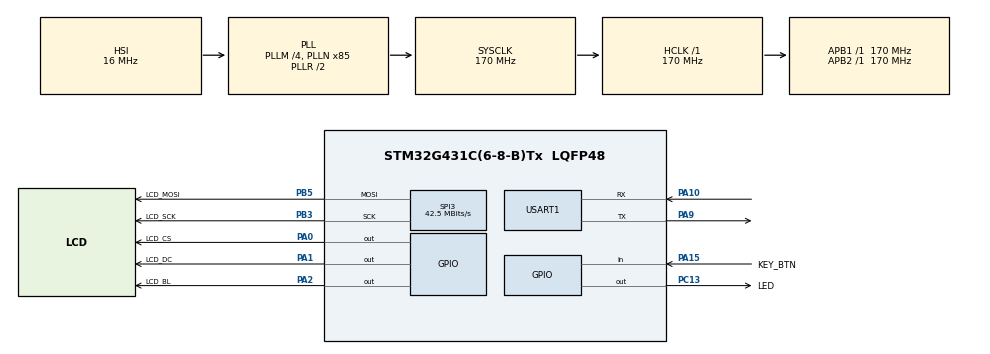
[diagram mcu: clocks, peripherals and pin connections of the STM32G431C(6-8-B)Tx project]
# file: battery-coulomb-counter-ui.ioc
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Dma.Request0=SPI3_TX
Dma.SPI3_TX.0.Direction=DMA_MEMORY_TO_PERIPH
Dma.SPI3_TX.0.EventEnable=DISABLE
Dma.SPI3_TX.0.Instance=DMA1_Channel1
Dma.SPI3_TX.0.MemDataAlignment=DMA_MDATAALIGN_BYTE
Dma.SPI3_TX.0.MemInc=DMA_MINC_ENABLE
Dma.SPI3_TX.0.Mode=DMA_NORMAL
Dma.SPI3_TX.0.PeriphDataAlignment=DMA_PDATAALIGN_BYTE
Dma.SPI3_TX.0.PeriphInc=DMA_PINC_DISABLE
Dma.SPI3_TX.0.Polarity=HAL_DMAMUX_REQ_GEN_RISING
Dma.SPI3_TX.0.Priority=DMA_PRIORITY_LOW
Dma.SPI3_TX.0.RequestNumber=1
Dma.SPI3_TX.0.SignalID=NONE
Dma.SPI3_TX.0.SyncEnable=DISABLE
Dma.SPI3_TX.0.SyncPolarity=HAL_DMAMUX_SYNC_NO_EVENT
Dma.SPI3_TX.0.SyncRequestNumber=1
Dma.SPI3_TX.0.SyncSignalID=NONE
Mcu.Family=STM32G4
Mcu.Name=STM32G431C(6-8-B)Tx
Mcu.Package=LQFP48
NVIC.DMA1_Channel1_IRQn=true\:0\:0\:false\:false\:true\:false\:true\:true
NVIC.PriorityGroup=NVIC_PRIORITYGROUP_4
NVIC.TIM1_TRG_COM_TIM17_IRQn=true\:15\:0\:false\:false\:true\:false\:true\:true
NVIC.TimeBase=TIM1_TRG_COM_TIM17_IRQn
NVIC.TimeBaseIP=TIM17
NVIC.USART1_IRQn=true\:0\:0\:false\:false\:true\:true\:true\:true
PA0.GPIO_Label=LCD_CS
PA0.GPIO_Speed=GPIO_SPEED_FREQ_HIGH
PA0.PinState=GPIO_PIN_SET
PA0.Signal=GPIO_Output
PA1.GPIO_Label=LCD_DC
PA1.GPIO_Speed=GPIO_SPEED_FREQ_HIGH
PA1.Signal=GPIO_Output
PA10.Mode=Asynchronous
PA10.Signal=USART1_RX
PA13.Mode=Serial_Wire
PA13.Signal=SYS_JTMS-SWDIO
PA14.Mode=Serial_Wire
PA14.Signal=SYS_JTCK-SWCLK
PA15.GPIO_Label=KEY_BTN
PA15.GPIO_PuPd=GPIO_PULLUP
PA15.Signal=GPIO_Input
PA2.GPIO_Label=LCD_BL
PA2.GPIO_Speed=GPIO_SPEED_FREQ_HIGH
PA2.Signal=GPIO_Output
PA9.Mode=Asynchronous
PA9.Signal=USART1_TX
PB3.GPIO_Label=LCD_SCK
PB3.GPIO_Speed=GPIO_SPEED_FREQ_VERY_HIGH
PB3.Mode=TX_Only_Simplex_Unidirect_Master
PB3.Signal=SPI3_SCK
PB5.GPIO_Label=LCD_MOSI
PB5.GPIO_Speed=GPIO_SPEED_FREQ_VERY_HIGH
PB5.Mode=TX_Only_Simplex_Unidirect_Master
PB5.Signal=SPI3_MOSI
PC13.GPIO_Label=LED
PC13.Signal=GPIO_Output
PC14-OSC32_IN.Mode=LSE-External-Oscillator
PC14-OSC32_IN.Signal=RCC_OSC32_IN
PC15-OSC32_OUT.Mode=LSE-External-Oscillator
PC15-OSC32_OUT.Signal=RCC_OSC32_OUT
PF0-OSC_IN.Mode=HSE-External-Oscillator
PF0-OSC_IN.Signal=RCC_OSC_IN
PF1-OSC_OUT.Mode=HSE-External-Oscillator
PF1-OSC_OUT.Signal=RCC_OSC_OUT
ProjectManager.HeapSize=0x200
ProjectManager.StackSize=0x400
ProjectManager.TargetToolchain=STM32CubeIDE
RCC.ADC12Freq_Value=170000000
RCC.AHBFreq_Value=170000000
RCC.APB1Freq_Value=170000000
RCC.APB1TimFreq_Value=170000000
RCC.APB2Freq_Value=170000000
RCC.APB2TimFreq_Value=170000000
RCC.CortexFreq_Value=170000000
RCC.EXTERNAL_CLOCK_VALUE=12288000
RCC.HCLKFreq_Value=170000000
RCC.HSE_VALUE=8000000
RCC.HSI48_VALUE=48000000
RCC.HSI_VALUE=16000000
RCC.PLLM=RCC_PLLM_DIV4
RCC.PLLN=85
RCC.SYSCLKFreq_VALUE=170000000
RCC.SYSCLKSource=RCC_SYSCLKSOURCE_PLLCLK
RCC.USBFreq_Value=170000000
RCC.VCOOutputFreq_Value=340000000
SPI3.BaudRatePrescaler=SPI_BAUDRATEPRESCALER_4
SPI3.CalculateBaudRate=42.5 MBits/s
SPI3.DataSize=SPI_DATASIZE_8BIT
SPI3.Direction=SPI_DIRECTION_2LINES
SPI3.Mode=SPI_MODE_MASTER
SPI3.VirtualType=VM_MASTER
USART1.VirtualMode-Asynchronous=VM_ASYNC
VP_SYS_VS_DBSignals.Mode=DisableDeadBatterySignals
VP_SYS_VS_tim17.Mode=TIM17
board=custom

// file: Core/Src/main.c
/* USER CODE BEGIN Header */
/**
  ******************************************************************************
  * @file           : main.c
  * @brief          : Main program body
  ******************************************************************************
  * @attention
  *
  * Copyright (c) 2026 STMicroelectronics.
  * All rights reserved.
  *
  * This software is licensed under terms that can be found in the LICENSE file
  * in the root directory of this software component.
  * If no LICENSE file comes with this software, it is provided AS-IS.
  *
  ******************************************************************************
  */
/* USER CODE END Header */
#include "main.h"
#include "dma.h"
#include "spi.h"
#include "usart.h"
#include "gpio.h"

/* USER CODE BEGIN Includes */
#include "st7789.h"
#include "g431_port.h"
#include "ui_raw_v2.h"
#include "gfx_raw.h"
/* USER CODE END Includes */

void SystemClock_Config(void);

int main(void)
{

  /* MCU Configuration--------------------------------------------------------*/

  /* Reset of all peripherals, Initializes the Flash interface and the Systick. */
  HAL_Init();

  /* Configure the system clock */
  SystemClock_Config();

  /* Initialize all configured peripherals */
  MX_GPIO_Init();
  MX_DMA_Init();
  MX_SPI3_Init();
  MX_USART1_UART_Init();
  /* USER CODE BEGIN 2 */
  /* SPI3 is configured in CubeMX (.ioc): DataSize=8BIT + /4 = 42.5 MHz,
   * both correct for the ST7789 4-line serial interface. Nothing to override
   * here — the LCD driver only needs the backlight + button/LED setup below. */

  /* Backlight ON (active-high load-switch on this board) — otherwise the
   * screen stays dark even with a perfect init sequence. */
  HAL_GPIO_WritePin(LCD_BL_GPIO_Port, LCD_BL_Pin, GPIO_PIN_SET);

  /* LED off initially (PC13 is active-low: RESET turns it ON). */
  HAL_GPIO_WritePin(LED_GPIO_Port, LED_Pin, GPIO_PIN_RESET);

  /* Initialise the ST7789V2 (no HW reset available → SWRESET). */
  st7789_init();

  /* LED on (active-low) ⇒ system is up and screen initialised. */
  HAL_GPIO_WritePin(LED_GPIO_Port, LED_Pin, GPIO_PIN_SET);

  /* Coulomb-counter UI demo runs in USER CODE 3 below (25Hz paced loop). */
  /* USER CODE END 2 */

  /* Infinite loop */
  while (1)
  {

    /* USER CODE BEGIN 3 */
  /* Coulomb-counter UI demo @ 25Hz (240x280 panel, UI vertically centered
   * via G431_YOFF in port/g431_port.h):
   * - static values: voltage / current / power / capacity are drawn ONCE by
   *   ui_raw_draw_static(&d) from the current variable values;
   * - dynamic loop: soc 0->100% sawtooth (8s/round) with linked range =
   *   soc*0.7 km; charge/discharge pill fixed to "discharge";
   * - frame skip + element-level slots keep the refresh flicker-free. */
  {
    ui_raw_data_t d = { 0 };
    static uint32_t nextFrame;
    float soc_f = 0.0f;

    /* Static values for the one-shot layer draw. */
    d.voltage = 72.5f;
    d.current = -12.3f;
    d.power_kw = 0.89f;
    d.capacity_ah = 19.6f;
    d.charging = 0;

    /* Static layer once: bg clear + shell + labels + static values.
     * Afterwards ui_raw_update only refreshes SOC/range (no flicker). */
    ui_raw_init();                 /* clears the 240x240 UI area */
    ui_raw_draw_static(&d);        /* frame + one-shot static values */
    nextFrame = HAL_GetTick();

    while (1)
    {
      uint32_t now = HAL_GetTick();

      /* 40ms cadence = 25Hz; on overrun drop missed slots and re-align. */
      if ((int32_t)(now - nextFrame) < 0) continue;
      nextFrame += 40;
      if ((int32_t)(now - nextFrame) >= 0) nextFrame = now + 40;

      /* ---- Dynamic simulation: soc + linked range only ---- */
      soc_f += 0.5f;                              /* 0->100% in 8s */
      if (soc_f >= 100.0f) soc_f = 0.0f;
      d.soc = soc_f;
      d.range_km = (int)(soc_f * 0.7f + 0.5f);    /* 0..70 km */

      ui_raw_update(&d);
    }
  }
  }
  /* USER CODE END 3 */
}

void SystemClock_Config(void)
{
  RCC_OscInitTypeDef RCC_OscInitStruct = {0};
  RCC_ClkInitTypeDef RCC_ClkInitStruct = {0};

  /** Configure the main internal regulator output voltage
  */
  HAL_PWREx_ControlVoltageScaling(PWR_REGULATOR_VOLTAGE_SCALE1_BOOST);

  /** Initializes the RCC Oscillators according to the specified parameters
  * in the RCC_OscInitTypeDef structure.
  */
  RCC_OscInitStruct.OscillatorType = RCC_OSCILLATORTYPE_HSI;
  RCC_OscInitStruct.HSIState = RCC_HSI_ON;
  RCC_OscInitStruct.HSICalibrationValue = RCC_HSICALIBRATION_DEFAULT;
  RCC_OscInitStruct.PLL.PLLState = RCC_PLL_ON;
  RCC_OscInitStruct.PLL.PLLSource = RCC_PLLSOURCE_HSI;
  RCC_OscInitStruct.PLL.PLLM = RCC_PLLM_DIV4;
  RCC_OscInitStruct.PLL.PLLN = 85;
  RCC_OscInitStruct.PLL.PLLP = RCC_PLLP_DIV2;
  RCC_OscInitStruct.PLL.PLLQ = RCC_PLLQ_DIV2;
  RCC_OscInitStruct.PLL.PLLR = RCC_PLLR_DIV2;
  if (HAL_RCC_OscConfig(&RCC_OscInitStruct) != HAL_OK)
  {
    Error_Handler();
  }

  /** Initializes the CPU, AHB and APB buses clocks
  */
  RCC_ClkInitStruct.ClockType = RCC_CLOCKTYPE_HCLK|RCC_CLOCKTYPE_SYSCLK
                              |RCC_CLOCKTYPE_PCLK1|RCC_CLOCKTYPE_PCLK2;
  RCC_ClkInitStruct.SYSCLKSource = RCC_SYSCLKSOURCE_PLLCLK;
  RCC_ClkInitStruct.AHBCLKDivider = RCC_SYSCLK_DIV1;
  RCC_ClkInitStruct.APB1CLKDivider = RCC_HCLK_DIV1;
  RCC_ClkInitStruct.APB2CLKDivider = RCC_HCLK_DIV1;

  if (HAL_RCC_ClockConfig(&RCC_ClkInitStruct, FLASH_LATENCY_4) != HAL_OK)
  {
    Error_Handler();
  }
}

void HAL_TIM_PeriodElapsedCallback(TIM_HandleTypeDef *htim)
{
  if (htim->Instance == TIM17)
  {
    HAL_IncTick();
  }
}

void Error_Handler(void)
{
  __disable_irq();
  while (1)
  {
  }
}
